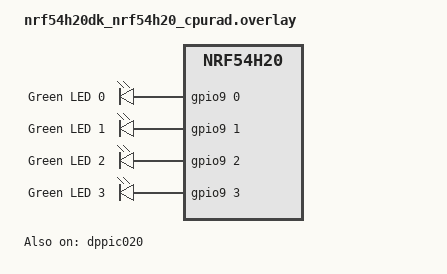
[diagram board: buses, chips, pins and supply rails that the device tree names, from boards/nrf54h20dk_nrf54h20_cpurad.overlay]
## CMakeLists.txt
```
#
# Copyright (c) 2018 Nordic Semiconductor
#
# SPDX-License-Identifier: LicenseRef-Nordic-5-Clause
#
cmake_minimum_required(VERSION 3.20.0)

find_package(Zephyr REQUIRED HINTS $ENV{ZEPHYR_BASE})
project(NONE)

FILE(GLOB app_sources src/*.c)
# NORDIC SDK APP START
target_sources(app PRIVATE ${app_sources})
# NORDIC SDK APP END
```

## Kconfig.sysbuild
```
#
# Copyright (c) 2025 Nordic Semiconductor ASA
#
# SPDX-License-Identifier: LicenseRef-Nordic-5-Clause
#

config PARTITION_MANAGER
	default n if !BOARD_IS_NON_SECURE

config NRF_DEFAULT_EMPTY
	default y if SOC_SERIES_NRF53X

source "share/sysbuild/Kconfig"
```

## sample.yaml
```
sample:
  name: ESB transmitter sample
common:
  harness: console
  harness_config:
    type: multi_line
    ordered: true
    regex:
      - "Enhanced ShockBurst ptx sample"
      - "Initialization complete"
      - "Sending test packet"
  timeout: 15

tests:
  sample.esb.ptx:
    sysbuild: true
    filter: CONFIG_UART_CONSOLE and CONFIG_SERIAL_SUPPORT_INTERRUPT
    integration_platforms:
      - nrf52dk/nrf52832
      - nrf52840dk/nrf52840
      - nrf52dk/nrf52810
    platform_allow:
      - nrf52dk/nrf52832
      - nrf52840dk/nrf52840
      - nrf52dk/nrf52810
    tags:
      - esb
      - samples
      - console
      - sysbuild
      - ci_samples_esb
  sample.esb.ptx.build:
    sysbuild: true
    integration_platforms:
      - nrf21540dk/nrf52840
      - nrf5340dk/nrf5340/cpunet
      - nrf54h20dk/nrf54h20/cpurad
      - nrf54l15dk/nrf54l05/cpuapp
      - nrf54l15dk/nrf54l10/cpuapp
      - nrf54l15dk/nrf54l15/cpuapp
      - nrf54lm20dk/nrf54lm20a/cpuapp
      - nrf54lm20dk/nrf54lm20b/cpuapp
      - nrf54ls05dk/nrf54ls05a/cpuapp
      - nrf54lc10dk/nrf54lc10a/cpuapp
    platform_allow:
      - nrf21540dk/nrf52840
      - nrf52833dk/nrf52833
      - nrf52840dk/nrf52840
      - nrf52dk/nrf52810
      - nrf52dk/nrf52832
      - nrf5340dk/nrf5340/cpunet
      - nrf54h20dk/nrf54h20/cpurad
      - nrf54l15dk/nrf54l05/cpuapp
      - nrf54l15dk/nrf54l10/cpuapp
      - nrf54l15dk/nrf54l15/cpuapp
      - nrf54lm20dk/nrf54lm20a/cpuapp
      - nrf54lm20dk/nrf54lm20b/cpuapp
      - nrf54ls05dk/nrf54ls05a/cpuapp
      - nrf54ls05dk/nrf54ls05b/cpuapp
      - nrf54lc10dk/nrf54lc10a/cpuapp
      - nrf54lc10dk/nrf54lc10a/cpuapp/ns
    tags:
      - esb
      - ci_build
      - sysbuild
      - ci_samples_esb
  sample.esb.ptx.dynamic_irq:
    sysbuild: true
    extra_configs:
      - CONFIG_ESB_DYNAMIC_INTERRUPTS=y
      - CONFIG_DYNAMIC_INTERRUPTS=y
      - CONFIG_DYNAMIC_DIRECT_INTERRUPTS=y
      - CONFIG_MPSL_DYNAMIC_INTERRUPTS=y
    integration_platforms:
      - nrf5340dk/nrf5340/cpunet
      - nrf52840dk/nrf52840
      - nrf54l15dk/nrf54l15/cpuapp
      - nrf54h20dk/nrf54h20/cpurad
    platform_allow:
      - nrf5340dk/nrf5340/cpunet
      - nrf52840dk/nrf52840
      - nrf54l15dk/nrf54l15/cpuapp
      - nrf54h20dk/nrf54h20/cpurad
    tags:
      - esb
      - ci_build
      - sysbuild
      - ci_samples_esb
  sample.esb.ptx.nrf5340_nrf21540:
    sysbuild: true
    extra_args: SHIELD=nrf21540ek
    integration_platforms:
      - nrf5340dk/nrf5340/cpunet
    platform_allow:
      - nrf5340dk/nrf5340/cpunet
    tags:
      - esb
      - ci_build
      - sysbuild
      - ci_samples_esb
  sample.esb.ptx.fast_switching:
    sysbuild: true
    extra_configs:
      - CONFIG_ESB_FAST_SWITCHING=y
      - CONFIG_ESB_FAST_CHANNEL_SWITCHING=y
    integration_platforms:
      - nrf54h20dk/nrf54h20/cpurad
    platform_allow:
      - nrf54h20dk/nrf54h20/cpurad
    tags:
      - esb
      - ci_build
      - sysbuild
      - ci_samples_esb
```

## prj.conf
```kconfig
#
# Copyright (c) 2019 Nordic Semiconductor ASA
#
# SPDX-License-Identifier: LicenseRef-Nordic-5-Clause
#
CONFIG_NCS_SAMPLES_DEFAULTS=y
CONFIG_ESB=y
CONFIG_DK_LIBRARY=y
CONFIG_CLOCK_CONTROL=y
CONFIG_ESB_CLOCK_INIT=y
```

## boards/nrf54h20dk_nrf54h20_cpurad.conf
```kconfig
CONFIG_NRFX_GPPI_V1=n
```

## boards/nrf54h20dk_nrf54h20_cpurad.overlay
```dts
/*
 * Copyright (c) 2024 Nordic Semiconductor ASA
 *
 * SPDX-License-Identifier: LicenseRef-Nordic-5-Clause
 */

/ {
	leds {
		compatible = "gpio-leds";

		led0: led_0 {
			gpios = <&gpio9 0 GPIO_ACTIVE_HIGH>;
			label = "Green LED 0";
		};

		led1: led_1 {
			gpios = <&gpio9 1 GPIO_ACTIVE_HIGH>;
			label = "Green LED 1";
		};

		led2: led_2 {
			gpios = <&gpio9 2 GPIO_ACTIVE_HIGH>;
			label = "Green LED 2";
		};

		led3: led_3 {
			gpios = <&gpio9 3 GPIO_ACTIVE_HIGH>;
			label = "Green LED 3";
		};
	};

	aliases {
		led0 = &led0;
		led1 = &led1;
		led2 = &led2;
		led3 = &led3;
	};

	cpurad_cpusys_errata216_mboxes: errata216_mboxes {
		compatible = "zephyr,mbox-ipm";
		status = "okay";
		mboxes = <&cpusys_vevif 0x14>, <&cpusys_vevif 0x15>;
		mbox-names = "on_req", "off_req";
	};
};

&gpio9 {
	status = "okay";
};

&gpio0 {
	status = "okay";
};

&gpiote130 {
	owned-channels = <0 1 2 3 4 5 6 7>;
	status = "okay";
};

&dppic020 {
	status = "okay";
	source-channels = <0 1 2 3 4 5>;
	sink-channels = <6 7 8 9 10 11>;
};
```

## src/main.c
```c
/*
 * Copyright (c) 2018 Nordic Semiconductor ASA
 *
 * SPDX-License-Identifier: LicenseRef-Nordic-5-Clause
 */
#include <zephyr/devicetree.h>
#include <zephyr/logging/log.h>
#include <esb.h>
#include <zephyr/kernel.h>
#include <zephyr/types.h>
#include <zephyr/pm/device_runtime.h>
#include <dk_buttons_and_leds.h>

LOG_MODULE_REGISTER(esb_ptx, CONFIG_ESB_PTX_APP_LOG_LEVEL);

static bool ready = true;
static struct esb_payload rx_payload;
static struct esb_payload tx_payload = ESB_CREATE_PAYLOAD(0,
	0x01, 0x00, 0x03, 0x04, 0x05, 0x06, 0x07, 0x08);

#define _RADIO_SHORTS_COMMON                                                   \
	(RADIO_SHORTS_READY_START_Msk | RADIO_SHORTS_END_DISABLE_Msk |         \
	 RADIO_SHORTS_ADDRESS_RSSISTART_Msk |                                  \
	 RADIO_SHORTS_DISABLED_RSSISTOP_Msk)

void event_handler(struct esb_evt const *event)
{
	ready = true;

	switch (event->evt_id) {
	case ESB_EVENT_TX_SUCCESS:
		LOG_DBG("TX SUCCESS EVENT %u attempts", event->tx_attempts);
		break;
	case ESB_EVENT_TX_FAILED:
		LOG_DBG("TX FAILED EVENT");
		break;
	case ESB_EVENT_RX_RECEIVED:
		while (esb_read_rx_payload(&rx_payload) == 0) {
			LOG_DBG("Packet received, len %d : "
				"0x%02x, 0x%02x, 0x%02x, 0x%02x, "
				"0x%02x, 0x%02x, 0x%02x, 0x%02x",
				rx_payload.length, rx_payload.data[0],
				rx_payload.data[1], rx_payload.data[2],
				rx_payload.data[3], rx_payload.data[4],
				rx_payload.data[5], rx_payload.data[6],
				rx_payload.data[7]);
		}
		break;
#if IS_ENABLED(CONFIG_ESB_MPSL_TIMESLOT)
	case ESB_EVENT_TIMESLOT_FAILED:
		LOG_ERR("Error in Timeslot handling");
		break;
#endif
	}
}

int esb_initialize(void)
{
	int err;
	/* These are arbitrary default addresses. In end user products
	 * different addresses should be used for each set of devices.
	 */
	uint8_t base_addr_0[4] = {0xE7, 0xE7, 0xE7, 0xE7};
	uint8_t base_addr_1[4] = {0xC2, 0xC2, 0xC2, 0xC2};
	uint8_t addr_prefix[8] = {0xE7, 0xC2, 0xC3, 0xC4, 0xC5, 0xC6, 0xC7, 0xC8};

	struct esb_config config = ESB_DEFAULT_CONFIG;

	config.protocol = ESB_PROTOCOL_ESB_DPL;
	config.retransmit_delay = 600;
	config.bitrate = ESB_BITRATE_2MBPS;
	config.event_handler = event_handler;
	config.mode = ESB_MODE_PTX;
	config.selective_auto_ack = true;
	if (IS_ENABLED(CONFIG_ESB_FAST_SWITCHING)) {
		config.use_fast_ramp_up = true;
	}

	err = esb_init(&config);

	if (err) {
		return err;
	}

	err = esb_set_base_address_0(base_addr_0);
	if (err) {
		return err;
	}

	err = esb_set_base_address_1(base_addr_1);
	if (err) {
		return err;
	}

	err = esb_set_prefixes(addr_prefix, ARRAY_SIZE(addr_prefix));
	if (err) {
		return err;
	}

	return 0;
}

static void leds_update(uint8_t value)
{
	uint32_t leds_mask =
		(!(value % 8 > 0 && value % 8 <= 4) ? DK_LED1_MSK : 0) |
		(!(value % 8 > 1 && value % 8 <= 5) ? DK_LED2_MSK : 0) |
		(!(value % 8 > 2 && value % 8 <= 6) ? DK_LED3_MSK : 0) |
		(!(value % 8 > 3) ? DK_LED4_MSK : 0);

	dk_set_leds(leds_mask);
}

int main(void)
{
	int err;

	LOG_INF("Enhanced ShockBurst ptx sample");

#if defined(CONFIG_SOC_SERIES_NRF54H)
	const struct device *dtm_uart = DEVICE_DT_GET_OR_NULL(DT_CHOSEN(zephyr_console));

	if (dtm_uart != NULL) {
		int ret = pm_device_runtime_get(dtm_uart);

		if (ret < 0) {
			printk("Failed to get DTM UART runtime PM: %d\n", ret);
		}
	}
#endif /* defined(CONFIG_SOC_SERIES_NRF54H) */

	err = dk_leds_init();
	if (err) {
		LOG_ERR("LEDs initialization failed, err %d", err);
		return 0;
	}

	err = esb_initialize();
	if (err) {
		LOG_ERR("ESB initialization failed, err %d", err);
		return 0;
	}

	LOG_INF("Initialization complete");
	LOG_INF("Sending test packet");

	tx_payload.noack = false;
	while (1) {
		if (ready) {
			ready = false;
			esb_flush_tx();
			leds_update(tx_payload.data[1]);

			err = esb_write_payload(&tx_payload);
			if (err) {
				LOG_ERR("Payload write failed, err %d", err);
			}
			tx_payload.data[1]++;
		}
		k_sleep(K_MSEC(100));
	}
}
```
